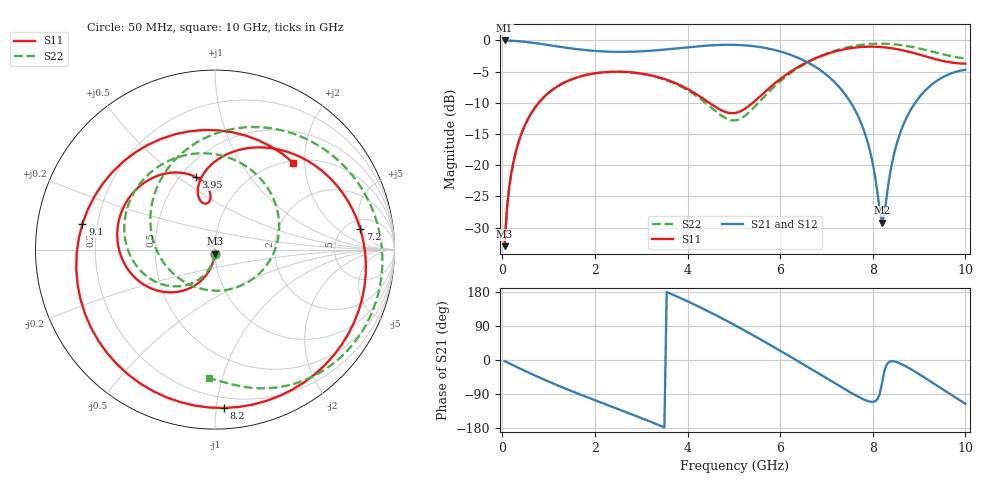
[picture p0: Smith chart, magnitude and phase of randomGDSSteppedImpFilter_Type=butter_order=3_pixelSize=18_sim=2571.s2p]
! freq	dB(S11)	phase(S11)	dB(S12)	phase(S12)
!  dB(S21)	phase(S21)	dB(S22)	phase(S22)
!S-par simulation data
#  GHz  S  DB  R 50
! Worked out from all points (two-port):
!   200 points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, 50 MHz to 10 GHz, reference 50 ohm
!   highest |S21| = -0.01 dB at 50 MHz (marker M1); lowest = -29.2 dB at 8.2 GHz (marker M2)
!   |S21| within 3 dB of the highest: start of sweep to 6.453 GHz
!   lowest |S11| = -33.0 dB at 50 MHz (marker M3), VSWR 1.05, Z = 49.8 - j2.24 ohm
!   |S11| at or under -10 dB: start of sweep to 786 MHz; 4.47 GHz to 5.408 GHz (938.2 MHz wide, 19 % of centre)
!   |S22| runs from -33.0 to -0.5 dB; largest |S21 - S12| = 0
!   S11 on the Smith chart (normalised r, x): 50 MHz: 1.00, -0.04; 3.95 GHz: 0.60, +0.58; 7.2 GHz: 6.79, +4.63; 8.2 GHz: 0.13, -1.05; 9.1 GHz: 0.14, +0.09; 10 GHz: 1.04, +1.75
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0.05  -32.96 -92.7  -0.01 -3.0  -0.01 -3.0  -32.97 -93.2
0.2  -21.03 -101.4  -0.05 -11.9  -0.05 -11.9  -21.03 -103.4
0.5  -13.41 -117.2  -0.24 -29.4  -0.24 -29.4  -13.42 -122.2
1.1  -7.81 -146.9  -0.86 -62.1  -0.86 -62.1  -7.82 -158.2
1.75  -5.64 -175.2  -1.52 -94.2  -1.52 -94.2  -5.65 165.8
2.65  -5.04 149.9  -1.83 -136.2  -1.83 -136.2  -5.07 116.9
3.4  -5.95 122.6  -1.54 -172.9  -1.54 -172.9  -6.02 71.8
3.95  -7.58 104.8  -1.14 157.7  -1.14 157.7  -7.76 31.8
4.45  -9.90 95.0  -0.82 128.4  -0.82 128.4  -10.38 -15.7
5.05  -11.59 102.9  -0.72 90.1  -0.72 90.1  -12.78 -103.3
5.45  -9.73 107.0  -0.94 63.1  -0.94 63.1  -10.62 -165.3
5.95  -6.49 92.5  -1.67 28.1  -1.67 28.1  -6.88 138.8
6.7  -3.07 47.1  -3.97 -25.9  -3.97 -25.9  -3.10 76.6
7.2  -1.74 7.9  -6.87 -62.6  -6.87 -62.6  -1.61 41.2
7.55  -1.21 -22.9  -10.27 -87.8  -10.27 -87.8  -0.95 18.3
7.85  -1.01 -51.3  -15.33 -106.5  -15.33 -106.5  -0.62 -0.3
8.2  -1.07 -86.7  -29.20 -60.7  -29.20 -60.7  -0.51 -20.7
8.35  -1.19 -102.6  -22.40 -5.4  -22.40 -5.4  -0.56 -29.0
8.75  -1.76 -147.8  -12.07 -19.0  -12.07 -19.0  -0.90 -49.4
9.1  -2.47 169.1  -8.28 -45.0  -8.28 -45.0  -1.45 -64.8
9.55  -3.35 109.0  -5.74 -80.5  -5.74 -80.5  -2.29 -80.6
10  -3.72 48.0  -4.70 -115.5  -4.70 -115.5  -2.88 -92.5
